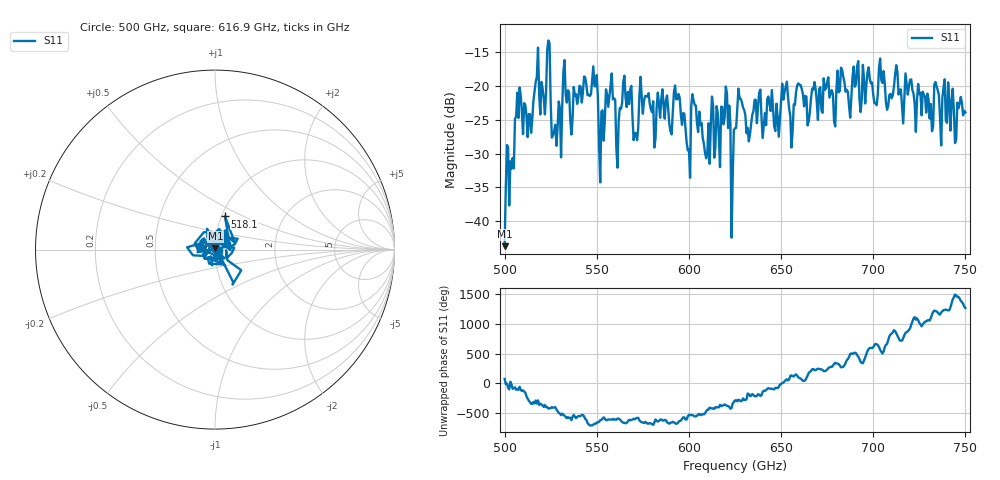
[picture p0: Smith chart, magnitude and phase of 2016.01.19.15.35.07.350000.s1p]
!Created with skrf (http://scikit-rf.org).
# GHz S RI R 50.0
!freq ReS11 ImS11
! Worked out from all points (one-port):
!   401 points, 500 GHz to 750 GHz, reference 50 ohm
!   lowest |S11| = -43.7 dB at 500 GHz (marker M1), VSWR 1.01, Z = 50.2 + j0.629 ohm
!   |S11| at or under -10 dB: start of sweep to end of sweep
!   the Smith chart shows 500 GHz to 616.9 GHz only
!   S11 on the Smith chart (normalised r, x): 500 GHz: 1.00, +0.01; 518.1 GHz: 1.04, +0.40; 616.9 GHz: 1.05, -0.00
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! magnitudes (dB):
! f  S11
! 500 GHz  -43.7
! 507.5 GHz  -24.7
! 513.8 GHz  -24.2
! 518.1 GHz  -14.3
! 523.8 GHz  -13.2
! 526.9 GHz  -26.7
! 531.2 GHz  -23.0
! 548.8 GHz  -20.0
! 552.5 GHz  -23.8
! 556.9 GHz  -21.5
! 562.5 GHz  -23.2
! 565.6 GHz  -21.7
! 571.2 GHz  -27.0
! 574.4 GHz  -21.6
! 593.8 GHz  -21.9
! 599.4 GHz  -29.5
! 602.5 GHz  -22.1
! 608.8 GHz  -29.9
! 616.9 GHz  -32.0
! 625 GHz  -26.2
! 627.5 GHz  -21.8
! 632.5 GHz  -28.2
! 651.9 GHz  -20.9
! 656.2 GHz  -26.7
! 660 GHz  -19.8
! 687.5 GHz  -24.7
! 718.8 GHz  -21.3
! 750 GHz  -23.9
